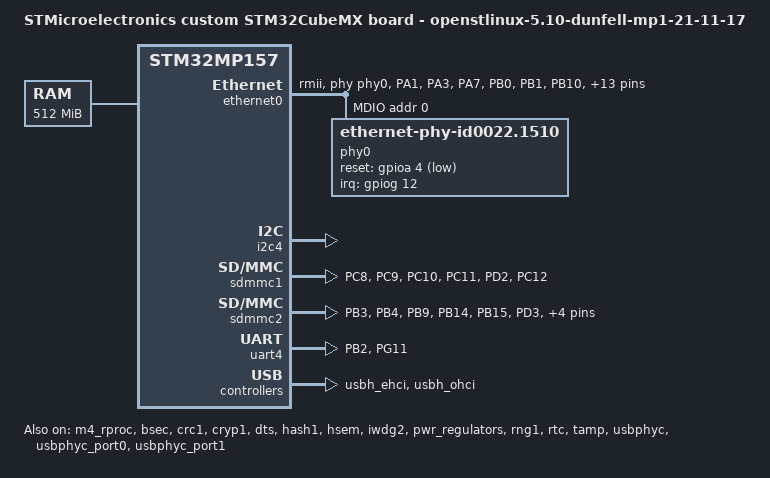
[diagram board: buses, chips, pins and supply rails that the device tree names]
/* SPDX-License-Identifier: (GPL-2.0+ OR BSD-3-Clause) */
/*
 * Copyright (C) STMicroelectronics 2021 - All Rights Reserved
 * Author: STM32CubeMX code generation for STMicroelectronics.
 */

/* For more information on Device Tree configuration, please refer to
 * https://wiki.st.com/stm32mpu/wiki/Category:Device_tree_configuration
 */

/dts-v1/;
#include <dt-bindings/pinctrl/stm32-pinfunc.h>

#include "stm32mp157.dtsi"
#include "stm32mp15xc.dtsi"
#include "stm32mp15xxac-pinctrl.dtsi"
#include "stm32mp15-m4-srm.dtsi"

/* USER CODE BEGIN includes */
/* USER CODE END includes */

/ {
	model = "STMicroelectronics custom STM32CubeMX board - openstlinux-5.10-dunfell-mp1-21-11-17";
	compatible = "st,stm32mp157c-osd32mp157c-512m-baa_minimalconfig-mx", "st,stm32mp157";

	memory@c0000000 {
		device_type = "memory";
		reg = <0xc0000000 0x20000000>;

		/* USER CODE BEGIN memory */
		/* USER CODE END memory */
	};

	reserved-memory {
		#address-cells = <1>;
		#size-cells = <1>;
		ranges;

		/* USER CODE BEGIN reserved-memory */
		/* USER CODE END reserved-memory */
	};

	/* USER CODE BEGIN root */
	/* USER CODE END root */

	aliases{
		serial0 = &uart4;
	};

	chosen{
		stdout-path = "serial0:115200n8";
	};

	clocks {
		/* USER CODE BEGIN clocks */
		/* USER CODE END clocks */

#ifndef CONFIG_TFABOOT
		clk_lsi: clk-lsi {
			clock-frequency = <32000>;
		};
		clk_hsi: clk-hsi {
			clock-frequency = <64000000>;
		};
		clk_csi: clk-csi {
			clock-frequency = <4000000>;
		};
		clk_lse: clk-lse {
			clock-frequency = <32768>;
		};
		clk_hse: clk-hse {
			clock-frequency = <24000000>;
		};
#endif	/*CONFIG_TFABOOT*/
	};

}; /*root*/

&pinctrl {
	u-boot,dm-pre-reloc;

	eth1_pins_mx: eth1_mx-0 {
		pins1 {
			pinmux = <STM32_PINMUX('A', 1, AF11)>, /* ETH1_RX_CLK */
					 <STM32_PINMUX('A', 3, AF11)>, /* ETH1_COL */
					 <STM32_PINMUX('A', 7, AF11)>, /* ETH1_RX_DV */
					 <STM32_PINMUX('B', 0, AF11)>, /* ETH1_RXD2 */
					 <STM32_PINMUX('B', 1, AF11)>, /* ETH1_RXD3 */
					 <STM32_PINMUX('B', 10, AF11)>, /* ETH1_RX_ER */
					 <STM32_PINMUX('C', 3, AF11)>, /* ETH1_TX_CLK */
					 <STM32_PINMUX('C', 4, AF11)>, /* ETH1_RXD0 */
					 <STM32_PINMUX('C', 5, AF11)>, /* ETH1_RXD1 */
					 <STM32_PINMUX('G', 12, AF11)>, /* ETH1_PHY_INTN */
					 <STM32_PINMUX('H', 2, AF11)>; /* ETH1_CRS */
			bias-disable;
		};
		pins2 {
			pinmux = <STM32_PINMUX('A', 2, AF11)>; /* ETH1_MDIO */
			bias-disable;
			drive-push-pull;
			slew-rate = <0>;
		};
		pins3 {
			pinmux = <STM32_PINMUX('B', 11, AF11)>; /* ETH1_TX_EN */
		};
		pins4 {
			pinmux = <STM32_PINMUX('C', 1, AF11)>, /* ETH1_MDC */
					 <STM32_PINMUX('C', 2, AF11)>, /* ETH1_TXD2 */
					 <STM32_PINMUX('E', 2, AF11)>, /* ETH1_TXD3 */
					 <STM32_PINMUX('F', 3, AF11)>, /* ETH1_TX_ER */
					 <STM32_PINMUX('G', 13, AF11)>, /* ETH1_TXD0 */
					 <STM32_PINMUX('G', 14, AF11)>; /* ETH1_TXD1 */
			bias-disable;
			drive-push-pull;
			slew-rate = <1>;
		};
	};

	eth1_sleep_pins_mx: eth1_sleep_mx-0 {
		pins {
			pinmux = <STM32_PINMUX('A', 1, ANALOG)>, /* ETH1_RX_CLK */
					 <STM32_PINMUX('A', 2, ANALOG)>, /* ETH1_MDIO */
					 <STM32_PINMUX('A', 3, ANALOG)>, /* ETH1_COL */
					 <STM32_PINMUX('A', 7, ANALOG)>, /* ETH1_RX_DV */
					 <STM32_PINMUX('B', 0, ANALOG)>, /* ETH1_RXD2 */
					 <STM32_PINMUX('B', 1, ANALOG)>, /* ETH1_RXD3 */
					 <STM32_PINMUX('B', 10, ANALOG)>, /* ETH1_RX_ER */
					 <STM32_PINMUX('B', 11, ANALOG)>, /* ETH1_TX_EN */
					 <STM32_PINMUX('C', 1, ANALOG)>, /* ETH1_MDC */
					 <STM32_PINMUX('C', 2, ANALOG)>, /* ETH1_TXD2 */
					 <STM32_PINMUX('C', 3, ANALOG)>, /* ETH1_TX_CLK */
					 <STM32_PINMUX('C', 4, ANALOG)>, /* ETH1_RXD0 */
					 <STM32_PINMUX('C', 5, ANALOG)>, /* ETH1_RXD1 */
					 <STM32_PINMUX('E', 2, ANALOG)>, /* ETH1_TXD3 */
					 <STM32_PINMUX('F', 3, ANALOG)>, /* ETH1_TX_ER */
					 <STM32_PINMUX('G', 12, ANALOG)>, /* ETH1_PHY_INTN */
					 <STM32_PINMUX('G', 13, ANALOG)>, /* ETH1_TXD0 */
					 <STM32_PINMUX('G', 14, ANALOG)>, /* ETH1_TXD1 */
					 <STM32_PINMUX('H', 2, ANALOG)>; /* ETH1_CRS */
		};
	};

	sdmmc1_pins_mx: sdmmc1_mx-0 {
		u-boot,dm-pre-reloc;
		pins1 {
			u-boot,dm-pre-reloc;
			pinmux = <STM32_PINMUX('C', 8, AF12)>, /* SDMMC1_D0 */
					 <STM32_PINMUX('C', 9, AF12)>, /* SDMMC1_D1 */
					 <STM32_PINMUX('C', 10, AF12)>, /* SDMMC1_D2 */
					 <STM32_PINMUX('C', 11, AF12)>, /* SDMMC1_D3 */
					 <STM32_PINMUX('D', 2, AF12)>; /* SDMMC1_CMD */
			bias-disable;
			drive-push-pull;
			slew-rate = <1>;
		};
		pins2 {
			u-boot,dm-pre-reloc;
			pinmux = <STM32_PINMUX('C', 12, AF12)>; /* SDMMC1_CK */
			bias-disable;
			drive-push-pull;
			slew-rate = <3>;
		};
	};

	sdmmc1_opendrain_pins_mx: sdmmc1_opendrain_mx-0 {
		u-boot,dm-pre-reloc;
		pins1 {
			u-boot,dm-pre-reloc;
			pinmux = <STM32_PINMUX('C', 8, AF12)>, /* SDMMC1_D0 */
					 <STM32_PINMUX('C', 9, AF12)>, /* SDMMC1_D1 */
					 <STM32_PINMUX('C', 10, AF12)>, /* SDMMC1_D2 */
					 <STM32_PINMUX('C', 11, AF12)>; /* SDMMC1_D3 */
			bias-disable;
			drive-push-pull;
			slew-rate = <1>;
		};
		pins2 {
			u-boot,dm-pre-reloc;
			pinmux = <STM32_PINMUX('C', 12, AF12)>; /* SDMMC1_CK */
			bias-disable;
			drive-push-pull;
			slew-rate = <3>;
		};
		pins3 {
			u-boot,dm-pre-reloc;
			pinmux = <STM32_PINMUX('D', 2, AF12)>; /* SDMMC1_CMD */
			bias-disable;
			drive-open-drain;
			slew-rate = <1>;
		};
	};

	sdmmc1_sleep_pins_mx: sdmmc1_sleep_mx-0 {
		u-boot,dm-pre-reloc;
		pins {
			u-boot,dm-pre-reloc;
			pinmux = <STM32_PINMUX('C', 8, ANALOG)>, /* SDMMC1_D0 */
					 <STM32_PINMUX('C', 9, ANALOG)>, /* SDMMC1_D1 */
					 <STM32_PINMUX('C', 10, ANALOG)>, /* SDMMC1_D2 */
					 <STM32_PINMUX('C', 11, ANALOG)>, /* SDMMC1_D3 */
					 <STM32_PINMUX('C', 12, ANALOG)>, /* SDMMC1_CK */
					 <STM32_PINMUX('D', 2, ANALOG)>; /* SDMMC1_CMD */
		};
	};

	sdmmc2_pins_mx: sdmmc2_mx-0 {
		u-boot,dm-pre-reloc;
		pins1 {
			u-boot,dm-pre-reloc;
			pinmux = <STM32_PINMUX('B', 3, AF9)>, /* SDMMC2_D2 */
					 <STM32_PINMUX('B', 4, AF9)>, /* SDMMC2_D3 */
					 <STM32_PINMUX('B', 9, AF10)>, /* SDMMC2_D5 */
					 <STM32_PINMUX('B', 14, AF9)>, /* SDMMC2_D0 */
					 <STM32_PINMUX('B', 15, AF9)>, /* SDMMC2_D1 */
					 <STM32_PINMUX('D', 3, AF9)>, /* SDMMC2_D7 */
					 <STM32_PINMUX('E', 4, AF9)>, /* SDMMC2_D4 */
					 <STM32_PINMUX('E', 5, AF9)>, /* SDMMC2_D6 */
					 <STM32_PINMUX('G', 6, AF10)>; /* SDMMC2_CMD */
			bias-disable;
			drive-push-pull;
			slew-rate = <1>;
		};
		pins2 {
			u-boot,dm-pre-reloc;
			pinmux = <STM32_PINMUX('E', 3, AF9)>; /* SDMMC2_CK */
			bias-disable;
			drive-push-pull;
			slew-rate = <3>;
		};
	};

	sdmmc2_opendrain_pins_mx: sdmmc2_opendrain_mx-0 {
		u-boot,dm-pre-reloc;
		pins1 {
			u-boot,dm-pre-reloc;
			pinmux = <STM32_PINMUX('B', 3, AF9)>, /* SDMMC2_D2 */
					 <STM32_PINMUX('B', 4, AF9)>, /* SDMMC2_D3 */
					 <STM32_PINMUX('B', 9, AF10)>, /* SDMMC2_D5 */
					 <STM32_PINMUX('B', 14, AF9)>, /* SDMMC2_D0 */
					 <STM32_PINMUX('B', 15, AF9)>, /* SDMMC2_D1 */
					 <STM32_PINMUX('D', 3, AF9)>, /* SDMMC2_D7 */
					 <STM32_PINMUX('E', 4, AF9)>, /* SDMMC2_D4 */
					 <STM32_PINMUX('E', 5, AF9)>; /* SDMMC2_D6 */
			bias-disable;
			drive-push-pull;
			slew-rate = <1>;
		};
		pins2 {
			u-boot,dm-pre-reloc;
			pinmux = <STM32_PINMUX('E', 3, AF9)>; /* SDMMC2_CK */
			bias-disable;
			drive-push-pull;
			slew-rate = <3>;
		};
		pins3 {
			u-boot,dm-pre-reloc;
			pinmux = <STM32_PINMUX('G', 6, AF10)>; /* SDMMC2_CMD */
			bias-disable;
			drive-open-drain;
			slew-rate = <1>;
		};
	};

	sdmmc2_sleep_pins_mx: sdmmc2_sleep_mx-0 {
		u-boot,dm-pre-reloc;
		pins {
			u-boot,dm-pre-reloc;
			pinmux = <STM32_PINMUX('B', 3, ANALOG)>, /* SDMMC2_D2 */
					 <STM32_PINMUX('B', 4, ANALOG)>, /* SDMMC2_D3 */
					 <STM32_PINMUX('B', 9, ANALOG)>, /* SDMMC2_D5 */
					 <STM32_PINMUX('B', 14, ANALOG)>, /* SDMMC2_D0 */
					 <STM32_PINMUX('B', 15, ANALOG)>, /* SDMMC2_D1 */
					 <STM32_PINMUX('D', 3, ANALOG)>, /* SDMMC2_D7 */
					 <STM32_PINMUX('E', 3, ANALOG)>, /* SDMMC2_CK */
					 <STM32_PINMUX('E', 4, ANALOG)>, /* SDMMC2_D4 */
					 <STM32_PINMUX('E', 5, ANALOG)>, /* SDMMC2_D6 */
					 <STM32_PINMUX('G', 6, ANALOG)>; /* SDMMC2_CMD */
		};
	};

	uart4_pins_mx: uart4_mx-0 {
		u-boot,dm-pre-reloc;
		pins1 {
			u-boot,dm-pre-reloc;
			pinmux = <STM32_PINMUX('B', 2, AF8)>; /* UART4_RX */
			bias-disable;
		};
		pins2 {
			u-boot,dm-pre-reloc;
			pinmux = <STM32_PINMUX('G', 11, AF6)>; /* UART4_TX */
			bias-disable;
			drive-push-pull;
			slew-rate = <0>;
		};
	};

	uart4_sleep_pins_mx: uart4_sleep_mx-0 {
		u-boot,dm-pre-reloc;
		pins {
			u-boot,dm-pre-reloc;
			pinmux = <STM32_PINMUX('B', 2, ANALOG)>, /* UART4_RX */
					 <STM32_PINMUX('G', 11, ANALOG)>; /* UART4_TX */
		};
	};

	/* USER CODE BEGIN pinctrl */
	/* USER CODE END pinctrl */
};

&pinctrl_z {
	u-boot,dm-pre-reloc;

	i2c4_pins_z_mx: i2c4_mx-0 {
		u-boot,dm-pre-reloc;
		pins {
			u-boot,dm-pre-reloc;
			pinmux = <STM32_PINMUX('Z', 4, AF6)>, /* I2C4_SCL */
					 <STM32_PINMUX('Z', 5, AF6)>; /* I2C4_SDA */
			bias-pull-up;
			drive-open-drain;
			slew-rate = <0>;
		};
	};

	i2c4_sleep_pins_z_mx: i2c4_sleep_mx-0 {
		u-boot,dm-pre-reloc;
		pins {
			u-boot,dm-pre-reloc;
			pinmux = <STM32_PINMUX('Z', 4, ANALOG)>, /* I2C4_SCL */
					 <STM32_PINMUX('Z', 5, ANALOG)>; /* I2C4_SDA */
		};
	};

	/* USER CODE BEGIN pinctrl_z */
	/* USER CODE END pinctrl_z */
};

&m4_rproc{
	/*Restriction: "memory-region" property is not managed - please to use User-Section if needed*/
	mboxes = <&ipcc 0>, <&ipcc 1>, <&ipcc 2>;
	mbox-names = "vq0", "vq1", "shutdown";
	status = "okay";

	/* USER CODE BEGIN m4_rproc */
	/* USER CODE END m4_rproc */

	m4_system_resources{
		status = "okay";

		/* USER CODE BEGIN m4_system_resources */
		/* USER CODE END m4_system_resources */
	};
};

&bsec{
	status = "okay";

	/* USER CODE BEGIN bsec */
	/* USER CODE END bsec */
};

&crc1{
	status = "okay";

	/* USER CODE BEGIN crc1 */
	/* USER CODE END crc1 */
};

&cryp1{
	u-boot,dm-pre-reloc;
	status = "okay";

	/* USER CODE BEGIN cryp1 */
	/* USER CODE END cryp1 */
};

&dma1{
	status = "okay";

	/* USER CODE BEGIN dma1 */
	/* USER CODE END dma1 */
};

&dma2{
	status = "disabled";

	/* USER CODE BEGIN dma2 */
	/* USER CODE END dma2 */
};

&dmamux1{
	status = "okay";

	dma-masters = <&dma1>;
	dma-channels = <8>;

	/* USER CODE BEGIN dmamux1 */
	/* USER CODE END dmamux1 */
};

&dts{
	status = "okay";

	/* USER CODE BEGIN dts */
	/* USER CODE END dts */
};

&ethernet0{
	pinctrl-names = "default", "sleep";
	pinctrl-0 = <&eth1_pins_mx>;
	pinctrl-1 = <&eth1_sleep_pins_mx>;
	status = "okay";
	phy-mode = "rmii";
	max-speed = <100>;
	phy-handle = <&phy0>;
	st,eth-ref-clk-sel;
	clock-names = "stmmaceth",
		"eth-ck",
		"mac-clk-tx",
		"mac-clk-rx",
		"ethstp";
	clocks = <&rcc ETHMAC>,
		<&rcc ETHCK_K>,
		<&rcc ETHTX>,
		<&rcc ETHRX>,
		<&rcc ETHSTP>;

	mdio0 {
		compatible = "snps,dwmac-mdio";
		#address-cells = <1>;
		#size-cells = <0>;
		phy0: ethernet-phy@0 {
			reset-gpios = <&gpioa 4 GPIO_ACTIVE_LOW>; /* ETH_RST# */
			interrupt-parent = <&gpiog>;
			interrupts = <12 IRQ_TYPE_EDGE_FALLING>; /* ETH_MDINT# */
			reset-delay-us = <10000>;
			post-reset-delay-us = <1000>;
			compatible = "ethernet-phy-id0022.1510";
			reg = <0>;
			clocks = <&rcc ETHCK_K>;
			clock-names = "rmii-ref";
		};
	};
};

&hash1{
	u-boot,dm-pre-reloc;
	status = "okay";

	/* USER CODE BEGIN hash1 */
	/* USER CODE END hash1 */
};

&hsem{
	status = "okay";

	/* USER CODE BEGIN hsem */
	/* USER CODE END hsem */
};

&i2c4{
	u-boot,dm-pre-reloc;
	pinctrl-names = "default", "sleep";
	pinctrl-0 = <&i2c4_pins_z_mx>;
	pinctrl-1 = <&i2c4_sleep_pins_z_mx>;
	status = "okay";

	/* USER CODE BEGIN i2c4 */
	/* USER CODE END i2c4 */
};

&ipcc{
	status = "okay";

	/* USER CODE BEGIN ipcc */
	/* USER CODE END ipcc */
};

&iwdg2{
	u-boot,dm-pre-reloc;
	status = "okay";

	/* USER CODE BEGIN iwdg2 */
	/* USER CODE END iwdg2 */
};

&m4_dma2{
	status = "okay";

	/* USER CODE BEGIN m4_dma2 */
	/* USER CODE END m4_dma2 */
};

&mdma1{
	status = "okay";

	/* USER CODE BEGIN mdma1 */
	/* USER CODE END mdma1 */
};

&pwr_regulators{
	status = "okay";

	/* USER CODE BEGIN pwr_regulators */
	/* USER CODE END pwr_regulators */
};

&rcc{
	u-boot,dm-pre-reloc;
	status = "okay";

	/* USER CODE BEGIN rcc */
	/* USER CODE END rcc */
};

&rng1{
	status = "okay";

	/* USER CODE BEGIN rng1 */
	/* USER CODE END rng1 */
};

&rtc{
	status = "okay";

	/* USER CODE BEGIN rtc */
	/* USER CODE END rtc */
};

&sdmmc1{
	u-boot,dm-pre-reloc;
	pinctrl-names = "default", "opendrain", "sleep";
	pinctrl-0 = <&sdmmc1_pins_mx>;
	pinctrl-1 = <&sdmmc1_opendrain_pins_mx>;
	pinctrl-2 = <&sdmmc1_sleep_pins_mx>;
	status = "okay";

	/* USER CODE BEGIN sdmmc1 */
	/* USER CODE END sdmmc1 */
};

&sdmmc2{
	u-boot,dm-pre-reloc;
	pinctrl-names = "default", "opendrain", "sleep";
	pinctrl-0 = <&sdmmc2_pins_mx>;
	pinctrl-1 = <&sdmmc2_opendrain_pins_mx>;
	pinctrl-2 = <&sdmmc2_sleep_pins_mx>;
	status = "okay";

	/* USER CODE BEGIN sdmmc2 */
	/* USER CODE END sdmmc2 */
};

&tamp{
	status = "okay";

	/* USER CODE BEGIN tamp */
	/* USER CODE END tamp */
};

&uart4{
	u-boot,dm-pre-reloc;
	pinctrl-names = "default", "sleep";
	pinctrl-0 = <&uart4_pins_mx>;
	pinctrl-1 = <&uart4_sleep_pins_mx>;
	status = "okay";

	/* USER CODE BEGIN uart4 */
	/* USER CODE END uart4 */
};

&usbh_ehci{
	status = "okay";

	/* USER CODE BEGIN usbh_ehci */
	/* USER CODE END usbh_ehci */
};

&usbh_ohci{
	status = "okay";

	/* USER CODE BEGIN usbh_ohci */
	/* USER CODE END usbh_ohci */
};

&usbphyc{
	status = "okay";

	/* USER CODE BEGIN usbphyc */
	/* USER CODE END usbphyc */
};

&usbphyc_port0{
	status = "okay";

	/* USER CODE BEGIN usbphyc_port0 */
	/* USER CODE END usbphyc_port0 */
};

&usbphyc_port1{
	status = "okay";

	/* USER CODE BEGIN usbphyc_port1 */
	/* USER CODE END usbphyc_port1 */
};

/* USER CODE BEGIN addons */
/* USER CODE END addons */

